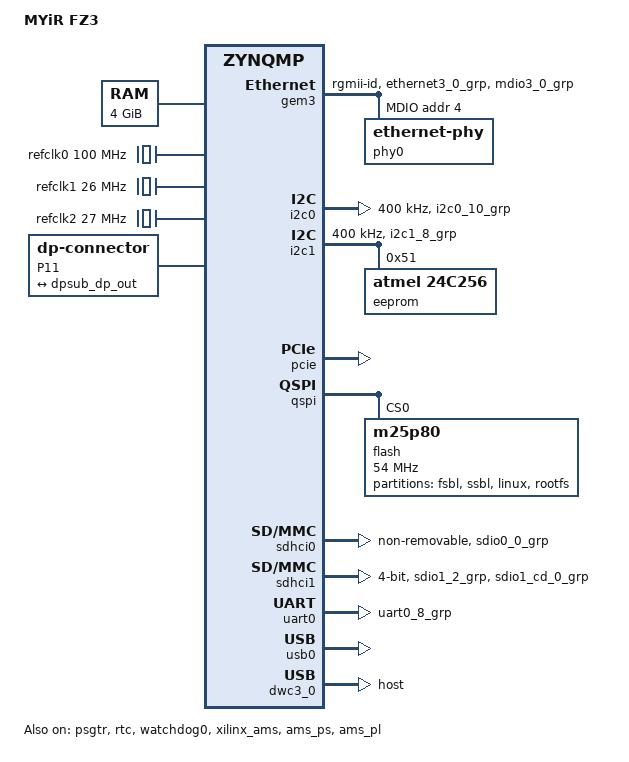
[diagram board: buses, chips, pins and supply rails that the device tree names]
// SPDX-License-Identifier: GPL-2.0+
/*
 * dts file for MYiR FZ3
 *
 * Author: Erik Banvik <erik.public@gmail.com>
 */

/dts-v1/;

#include "zynqmp.dtsi"
#include "zynqmp-clk-ccf.dtsi"
#include <dt-bindings/input/input.h>
#include <dt-bindings/gpio/gpio.h>
#include <dt-bindings/pinctrl/pinctrl-zynqmp.h>
#include <dt-bindings/phy/phy.h>

/ {
	model = "MYiR FZ3";
	compatible = "xlnx,zynqmp-myir-fz3", "xlnx,zynqmp";

	aliases {
		ethernet0 = &gem3;
		i2c0 = &i2c0;
		i2c1 = &i2c1;
		rtc0 = &rtc;
		serial0 = &uart0;
		spi0 = &qspi;
		usb0 = &usb0;
	};

	chosen {
		bootargs = "earlycon clk_ignore_unused console=ttyPS0,115200 cpuidle.off=1";
		stdout-path = "serial0:115200n8";
	};

	memory@0 {
		device_type = "memory";
		reg = <0x0 0x0 0x0 0x7ff00000>, <0x00000008 0x00000000 0x0 0x80000000>;
	};

   refclk0:psgtr_pcie_clock {
		compatible = "fixed-clock";
		#clock-cells = <0x00>;
		clock-frequency = <100000000>;
   };

	refclk1:psgtr_usb_clock {
		compatible = "fixed-clock";
		#clock-cells = <0x00>;
		clock-frequency = <26000000>;
   };
	
	refclk2:psgtr_dp_clock {
		compatible = "fixed-clock";
		#clock-cells = <0x00>;
		clock-frequency = <27000000>;
	};
	/*
	watchdog-gpio {
		compatible = "linux,wdt-gpio";
		gpios = <&gpio 41 GPIO_ACTIVE_LOW>;
		hw_algo = "toggle";
		hw_margin_ms = <1500>;
		always-running;
		pinctrl-names = "default";
		pinctrl-0 = <&pinctrl_watchdog_default>;
		status = "okay";
	};
	*/
	dpcon {
		compatible = "dp-connector";
		label = "P11";
		type = "full-size";

		port {
			dpcon_in: endpoint {
				remote-endpoint = <&dpsub_dp_out>;
			};
		};
	};
};

&fpd_dma_chan1 {
	status = "okay";
};

&fpd_dma_chan2 {
	status = "okay";
};

&fpd_dma_chan3 {
	status = "okay";
};

&fpd_dma_chan4 {
	status = "okay";
};

&fpd_dma_chan5 {
	status = "okay";
};

&fpd_dma_chan6 {
	status = "okay";
};

&fpd_dma_chan7 {
	status = "okay";
};

&fpd_dma_chan8 {
	status = "okay";
};

&gem3 {
	status = "okay";
	phy-mode = "rgmii-id";
	local-mac-address = [02 0a 35 00 22 01];
	pinctrl-names = "default";
	pinctrl-0 = <&pinctrl_gem3_default>;
	mdio: mdio {
		#address-cells = <1>;
		#size-cells = <0>;
		phy0: ethernet-phy@4 {
			#phy-cells = <1>;
			reg = <0x4>;
		};
	};
};

&gpio {
	status = "okay";
};

&i2c0 {
	status = "okay";
	clock-frequency = <400000>;
	pinctrl-names = "default";
	pinctrl-0 = <&pinctrl_i2c0_default>;
};

&i2c1 {
	status = "okay";
	clock-frequency = <400000>;
	pinctrl-names = "default";	
	pinctrl-0 = <&pinctrl_i2c1_default>;

	eeprom@51 {
		compatible = "atmel,24c256";
		reg = <0x51>;
		pagesize = <64>;
		address-width = <16>;
	};
};

&pinctrl0 {
	status = "okay";
	pinctrl_uart0_default: uart0-default {
		mux {
			groups = "uart0_8_grp";
			function = "uart0";
		};

		conf {
			groups = "uart0_8_grp";
			slew-rate = <SLEW_RATE_SLOW>;
			power-source = <IO_STANDARD_LVCMOS18>;
		};
	};

	pinctrl_sdhci0_default: sdhci0-default {
		mux {
			groups = "sdio0_0_grp";
			function = "sdio0";
		};

		conf {
			groups = "sdio0_0_grp";
			slew-rate = <SLEW_RATE_SLOW>;
			power-source = <IO_STANDARD_LVCMOS18>;
			bias-disable;
		};
	};

	pinctrl_sdhci1_default: sdhci1-default {
		mux {
			groups = "sdio1_2_grp";
			function = "sdio1";
		};

		conf {
			groups = "sdio1_2_grp";
			slew-rate = <SLEW_RATE_SLOW>;
			power-source = <IO_STANDARD_LVCMOS18>;
			bias-disable;
		};

		mux-cd {
			groups = "sdio1_cd_0_grp";
			function = "sdio1_cd";
		};

		conf-cd {
			groups = "sdio1_cd_0_grp";
			bias-high-impedance;
			bias-pull-up;
			slew-rate = <SLEW_RATE_SLOW>;
			power-source = <IO_STANDARD_LVCMOS18>;
		};
	};

	pinctrl_gem3_default: gem3-default {
		mux {
			function = "ethernet3";
			groups = "ethernet3_0_grp";
		};

		mux-mdio {
			function = "mdio3";
			groups = "mdio3_0_grp";
		};
	};

	pinctrl_i2c0_default: i2c0-default {
		mux {
			groups = "i2c0_10_grp";
			function = "i2c0";
		};
	};

	pinctrl_i2c1_default: i2c1-default {
		mux {
			groups = "i2c1_8_grp";
			function = "i2c1";
		};
	};

	pinctrl_watchdog_default: watchdog-default {
		mux {
			function = "gpio0";
			groups = "gpio0_41_grp";
		};

		conf {
			groups = "gpio0_41_grp";
			slew-rate = <SLEW_RATE_SLOW>;
			power-source = <IO_STANDARD_LVCMOS18>;
		};

		conf-pull-none {
			pins = "MIO41";
			bias-disable;
		};
	};
};

&pcie {
	status = "okay";
	xlnx,tz-nonsecure = <0x00>;
};

&psgtr {
	status = "okay";
	clocks = <&refclk0 &refclk1 &refclk2>;
	clock-names = "ref0\0ref1\0ref2";
};

&qspi {
	status = "okay";
	is-dual = <0>;
	flash@0 {
		compatible = "m25p80";
		#address-cells = <1>;
		#size-cells = <1>;
		reg = <0x0>;
		spi-tx-bus-width = <4>;
		spi-rx-bus-width = <4>; 
		spi-max-frequency = <54000000>; 
		partition@fsbl { 
			label = "fsbl";
			reg = <0x0 0x900000>;
		};
		partition@ssbl { 
			label = "ssbl";
			reg = <0x900000 0x1000000>;
		};
		partition@linux { 
			label = "linux";
			reg = <0x900000 0x1000000>;
		};
		partition@rootfs { 
			label = "rootfs";
			reg = <0x1a00000 0x600000>;
		};
	};
};

&rtc {
	status = "okay";
};

&sdhci0 {
	status = "okay";
	pinctrl-names = "default";
	pinctrl-0 = <&pinctrl_sdhci0_default>;
	clock-frequency = <187500000>;
	xlnx,mio-bank = <0>;
	no-1-8-v;
	non-removable;
	disable-wp;
};

&sdhci1 {
	status = "okay";
	pinctrl-names = "default";
	clock-frequency = <187500000>;
	pinctrl-0 = <&pinctrl_sdhci1_default>;
	xlnx,mio-bank = <1>;
	no-1-8-v;
	bus-width = <4>;
};

&uart0 {
	status = "okay";
	pinctrl-names = "default";
	pinctrl-0 = <&pinctrl_uart0_default>;
};

&usb0 {
	status = "okay";
	xlnx,tz-nonsecure = <0x01>;
	xlnx,usb-polarity = <0x00>;
	xlnx,usb-reset-mode = <0x00>;
};

&dwc3_0 {
	status = "okay";
	dr_mode = "host";
	snps,usb3_lpm_capable;
	maximum-speed = "super-speed";
};

&watchdog0 {
	status = "okay";
};

&xilinx_ams {
	status = "okay";
};

&ams_ps {
	status = "okay";
};

&ams_pl {
	status = "okay";
};

&zynqmp_dpdma {
	status = "okay";
};

&zynqmp_dpsub {
	phy-names = "dp-phy0", "dp-phy1";
	/*             DMA, type? ? clock reference */
	phys = <&psgtr 3 PHY_TYPE_DP 0 2>,
	       <&psgtr 2 PHY_TYPE_DP 1 2>;

	ports {
		#address-cells = <1>;
		#size-cells = <0>;
		
		port@5 {
			reg = <5>;
			dpsub_dp_out: endpoint {
				remote-endpoint = <&dpcon_in>;
			};
		};
	};
};
